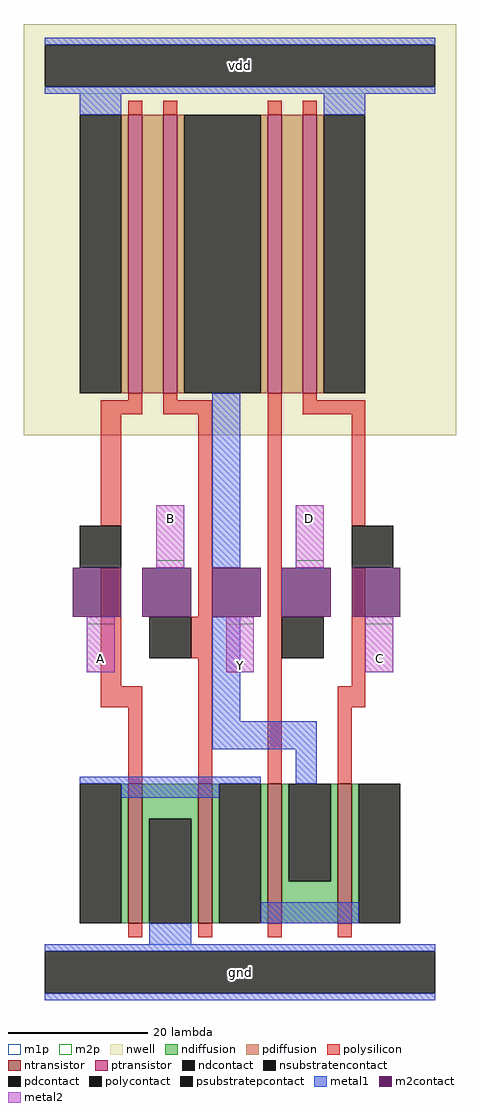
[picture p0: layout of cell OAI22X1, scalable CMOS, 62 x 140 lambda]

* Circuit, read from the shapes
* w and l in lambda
.subckt OAI22X1 A B C D Y vdd gnd
M1 gnd A n1 gnd nfet w=20 l=2
M2 n1 B gnd gnd nfet w=20 l=2
M3 Y D n1 gnd nfet w=20 l=2
M4 n1 C Y gnd nfet w=20 l=2
M5 n2 A vdd vdd pfet w=40 l=2
M6 Y B n2 vdd pfet w=40 l=2
M7 n3 D Y vdd pfet w=40 l=2
M8 vdd C n3 vdd pfet w=40 l=2
.ends

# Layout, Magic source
magic
tech scmos
<< nwell >>
rect -6 77 56 136
<< ntransistor >>
rect 9 7 11 27
rect 19 7 21 27
rect 29 7 31 27
rect 39 7 41 27
<< ptransistor >>
rect 9 83 11 123
rect 14 83 16 123
rect 29 83 31 123
rect 34 83 36 123
<< ndiffusion >>
rect 8 7 9 27
rect 11 22 19 27
rect 11 7 12 22
rect 18 7 19 22
rect 21 7 22 27
rect 28 7 29 27
rect 31 13 32 27
rect 38 13 39 27
rect 31 7 39 13
rect 41 7 42 27
<< pdiffusion >>
rect 8 83 9 123
rect 11 83 14 123
rect 16 83 17 123
rect 28 83 29 123
rect 31 83 34 123
rect 36 83 37 123
<< ndcontact >>
rect 2 7 8 27
rect 12 7 18 22
rect 22 7 28 27
rect 32 13 38 27
rect 42 7 48 27
<< pdcontact >>
rect 2 83 8 123
rect 17 83 28 123
rect 37 83 43 123
<< psubstratepcontact >>
rect -3 -3 53 3
<< nsubstratencontact >>
rect -3 127 53 133
<< polysilicon >>
rect 9 123 11 125
rect 14 123 16 125
rect 29 123 31 125
rect 34 123 36 125
rect 9 82 11 83
rect 5 80 11 82
rect 14 82 16 83
rect 14 80 21 82
rect 5 64 8 80
rect 5 41 8 58
rect 19 51 21 80
rect 18 45 21 51
rect 5 38 11 41
rect 9 27 11 38
rect 19 27 21 45
rect 29 27 31 83
rect 34 82 36 83
rect 34 80 43 82
rect 41 64 43 80
rect 41 41 43 58
rect 39 38 43 41
rect 39 27 41 38
rect 9 5 11 7
rect 19 5 21 7
rect 29 5 31 7
rect 39 5 41 7
<< polycontact >>
rect 2 58 8 64
rect 12 45 18 51
rect 41 58 47 64
rect 31 45 37 51
<< metal1 >>
rect -3 133 53 134
rect -3 126 53 127
rect 2 123 8 126
rect 37 123 43 126
rect 21 58 25 83
rect 21 36 25 51
rect 21 32 36 36
rect 2 27 28 28
rect 33 27 36 32
rect 8 25 22 27
rect 28 7 42 10
rect 12 4 18 7
rect -3 3 53 4
rect -3 -4 53 -3
<< m2contact >>
rect 1 51 8 58
rect 11 51 18 58
rect 21 51 28 58
rect 31 51 38 58
rect 41 51 48 58
<< metal2 >>
rect 13 58 17 67
rect 33 58 37 67
rect 3 43 7 51
rect 23 43 27 51
rect 43 43 47 51
<< m1p >>
rect -3 126 53 134
rect -3 -4 53 4
<< m2p >>
rect 13 59 17 67
rect 33 59 37 67
rect 3 43 7 50
rect 23 43 27 50
rect 43 43 47 50
<< labels >>
rlabel metal2 5 45 5 45 1 A
port 1 n signal input
rlabel metal2 15 65 15 65 1 B
port 2 n signal input
rlabel metal2 45 45 45 45 1 C
port 3 n signal input
rlabel metal2 35 65 35 65 1 D
port 4 n signal input
rlabel metal2 25 44 25 44 5 Y
port 5 n signal output
rlabel metal1 -3 126 53 134 0 vdd
port 6 nsew power bidirectional abutment
rlabel metal1 -3 -4 53 4 0 gnd
port 7 nsew ground bidirectional abutment
<< properties >>
string FIXED_BBOX 0 0 50 130
string LEFclass CORE
string LEFsite core
string LEFsymmetry X Y
<< end >>
